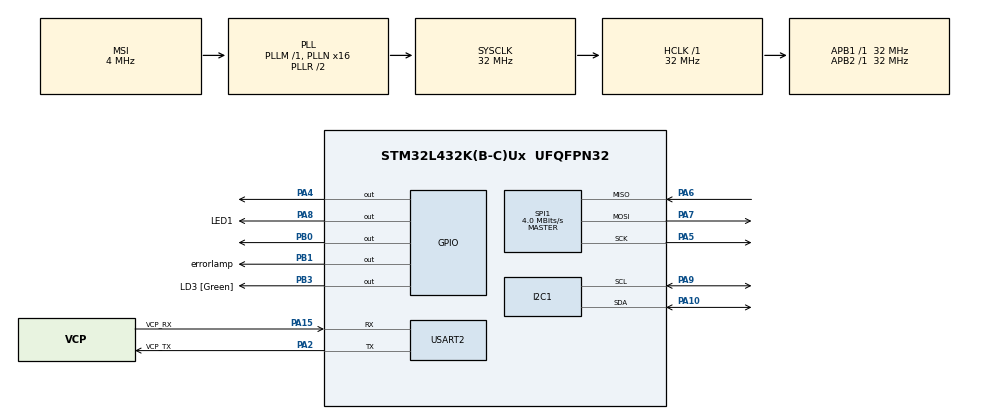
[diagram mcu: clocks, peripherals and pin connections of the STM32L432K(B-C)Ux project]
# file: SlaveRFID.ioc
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Dma.I2C1_RX.0.Direction=DMA_PERIPH_TO_MEMORY
Dma.I2C1_RX.0.Instance=DMA1_Channel7
Dma.I2C1_RX.0.MemDataAlignment=DMA_MDATAALIGN_BYTE
Dma.I2C1_RX.0.MemInc=DMA_MINC_ENABLE
Dma.I2C1_RX.0.Mode=DMA_NORMAL
Dma.I2C1_RX.0.PeriphDataAlignment=DMA_PDATAALIGN_BYTE
Dma.I2C1_RX.0.PeriphInc=DMA_PINC_DISABLE
Dma.I2C1_RX.0.Priority=DMA_PRIORITY_LOW
Dma.Request0=I2C1_RX
I2C1.OwnAddress=15
I2C1.Timing=0x00B07CB4
Mcu.Family=STM32L4
Mcu.Name=STM32L432K(B-C)Ux
Mcu.Package=UFQFPN32
NVIC.DMA1_Channel7_IRQn=true\:0\:0\:false\:false\:true\:false\:true\:true
NVIC.I2C1_ER_IRQn=true\:0\:0\:false\:false\:true\:true\:true\:true
NVIC.I2C1_EV_IRQn=true\:0\:0\:false\:false\:true\:true\:true\:true
NVIC.PriorityGroup=NVIC_PRIORITYGROUP_4
NVIC.TIM2_IRQn=true\:0\:0\:false\:false\:true\:true\:true\:true
PA0.GPIO_Label=MCO [High speed clock in]
PA0.Mode=HSE-External-Clock-Source-for-LittleOrca
PA0.Signal=RCC_CK_IN
PA10.Mode=I2C
PA10.Signal=I2C1_SDA
PA13\ (JTMS-SWDIO).GPIO_Label=SWDIO
PA13\ (JTMS-SWDIO).Mode=Serial_Wire
PA13\ (JTMS-SWDIO).Signal=SYS_JTMS-SWDIO
PA14\ (JTCK-SWCLK).GPIO_Label=SWCLK
PA14\ (JTCK-SWCLK).Mode=Serial_Wire
PA14\ (JTCK-SWCLK).Signal=SYS_JTCK-SWCLK
PA15\ (JTDI).GPIO_Label=VCP_RX
PA15\ (JTDI).Mode=Asynchronous
PA15\ (JTDI).Signal=USART2_RX
PA2.GPIO_Label=VCP_TX
PA2.Mode=Asynchronous
PA2.Signal=USART2_TX
PA4.Signal=GPIO_Output
PA5.Mode=Full_Duplex_Master
PA5.Signal=SPI1_SCK
PA6.Mode=Full_Duplex_Master
PA6.Signal=SPI1_MISO
PA7.Mode=Full_Duplex_Master
PA7.Signal=SPI1_MOSI
PA8.GPIO_Label=LED1
PA8.Signal=GPIO_Output
PA9.Mode=I2C
PA9.Signal=I2C1_SCL
PB0.Signal=GPIO_Output
PB1.GPIO_Label=errorlamp
PB1.Signal=GPIO_Output
PB3\ (JTDO-TRACESWO).GPIO_Label=LD3 [Green]
PB3\ (JTDO-TRACESWO).Signal=GPIO_Output
PC14-OSC32_IN\ (PC14).Mode=LSE-External-Oscillator
PC14-OSC32_IN\ (PC14).Signal=RCC_OSC32_IN
PC15-OSC32_OUT\ (PC15).Mode=LSE-External-Oscillator
PC15-OSC32_OUT\ (PC15).Signal=RCC_OSC32_OUT
ProjectManager.HeapSize=0x200
ProjectManager.StackSize=0x400
ProjectManager.TargetToolchain=STM32CubeIDE
RCC.AHBFreq_Value=32000000
RCC.APB1Freq_Value=32000000
RCC.APB1TimFreq_Value=32000000
RCC.APB2Freq_Value=32000000
RCC.APB2TimFreq_Value=32000000
RCC.CortexFreq_Value=32000000
RCC.HCLKFreq_Value=32000000
RCC.HSE_VALUE=8000000
RCC.HSI16_VALUE=16000000
RCC.HSI48_VALUE=48000000
RCC.HSI_VALUE=16000000
RCC.MSI_VALUE=4000000
RCC.PLLMUL=RCC_PLLMUL_4
RCC.PLLN=16
RCC.SYSCLKFreq_VALUE=32000000
RCC.SYSCLKSource=RCC_SYSCLKSOURCE_PLLCLK
RCC.VCOOutputFreq_Value=64000000
SPI1.BaudRatePrescaler=SPI_BAUDRATEPRESCALER_8
SPI1.CalculateBaudRate=4.0 MBits/s
SPI1.DataSize=SPI_DATASIZE_8BIT
SPI1.Direction=SPI_DIRECTION_2LINES
SPI1.Mode=SPI_MODE_MASTER
SPI1.VirtualType=VM_MASTER
TIM2.Period=4999
TIM2.Prescaler=7999
USART2.VirtualMode-Asynchronous=VM_ASYNC
VP_TIM2_VS_ClockSourceINT.Mode=Internal
board=NUCLEO-L432KC

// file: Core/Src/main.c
/* USER CODE BEGIN Header */
/**
  ******************************************************************************
  * @file           : main.c
  * @brief          : Main program body
  ******************************************************************************
  * @attention
  *
  * Copyright (c) 2025 STMicroelectronics.
  * All rights reserved.
  *
  * This software is licensed under terms that can be found in the LICENSE file
  * in the root directory of this software component.
  * If no LICENSE file comes with this software, it is provided AS-IS.
  *
  ******************************************************************************
  */
/* USER CODE END Header */
#include "main.h"

/* USER CODE BEGIN Includes */
#include "MFRC522.h"
#include <string.h>
#include <stdio.h>
#include <stdbool.h>
#include "RFID.h"
/* USER CODE END Includes */

I2C_HandleTypeDef hi2c1;
DMA_HandleTypeDef hdma_i2c1_rx;

SPI_HandleTypeDef hspi1;

TIM_HandleTypeDef htim2;

UART_HandleTypeDef huart2;

/* USER CODE BEGIN PV */
uint32_t pasID = 0;
uint32_t pasIDbuf = 0;
uint8_t RX_Buffer [1] ;
char buffer[20];
/* USER CODE END PV */

void SystemClock_Config(void);
static void MX_GPIO_Init(void);
static void MX_DMA_Init(void);
static void MX_USART2_UART_Init(void);
static void MX_I2C1_Init(void);
static void MX_SPI1_Init(void);
static void MX_TIM2_Init(void);

/* USER CODE BEGIN 0 */
volatile bool ledAan = false;
volatile bool statussend = true;

volatile bool ledAan2 = false;
volatile bool statussend2 = true;
/* USER CODE END 0 */

int main(void)
{

  /* MCU Configuration--------------------------------------------------------*/

  /* Reset of all peripherals, Initializes the Flash interface and the Systick. */
  HAL_Init();

  /* Configure the system clock */
  SystemClock_Config();

  /* Initialize all configured peripherals */
  MX_GPIO_Init();
  MX_DMA_Init();
  MX_USART2_UART_Init();
  MX_I2C1_Init();
  MX_SPI1_Init();
  MX_TIM2_Init();
  /* USER CODE BEGIN 2 */
  MFRC522_Init();
   HAL_I2C_Slave_Receive_IT(&hi2c1, RX_Buffer, 1);  // Zet de slave in ontvangstmodus
  __HAL_TIM_SET_COUNTER(&htim2, 0);  // Reset timer
  HAL_TIM_Base_Start_IT(&htim2);     // Start timer
  HAL_NVIC_SetPriority(TIM2_IRQn, 5, 0); // Stel een lagere prioriteit in voor de timer interrupt
 // HAL_I2C_Slave_Transmit_IT(&hi2c1 ,(uint8_t *)RX_Buffer, 1); //Receiving in Interrupt mode
  /* USER CODE END 2 */

  /* Infinite loop */
  /* USER CODE BEGIN WHILE */
  while (1)
  {
      pasID = scanPas();
     // char debugMsg5[] = "while loop \r\n";
 //     HAL_UART_Transmit(&huart2, (uint8_t*)debugMsg5, strlen(debugMsg5), HAL_MAX_DELAY);

      if (pasID > 0 && statussend == true) {
    	  	 pasIDbuf = pasID;
    	  	 HAL_GPIO_WritePin(GPIOA, GPIO_PIN_4 | LED1_Pin, GPIO_PIN_SET);
    	  	 ledAan = true;
    	  	 statussend = false;
    	  	__HAL_TIM_SET_COUNTER(&htim2, 0);  // Reset timer
    	  	HAL_TIM_Base_Start_IT(&htim2);     // Start timer
    	//  	char debugMsg4[] = "Timer wordt gestart\r\n";
    	//  	HAL_UART_Transmit(&huart2, (uint8_t*)debugMsg4, strlen(debugMsg4), HAL_MAX_DELAY);
      }
    /* USER CODE END WHILE */

  }
}

void SystemClock_Config(void)
{
  RCC_OscInitTypeDef RCC_OscInitStruct = {0};
  RCC_ClkInitTypeDef RCC_ClkInitStruct = {0};

  /** Configure the main internal regulator output voltage
  */
  if (HAL_PWREx_ControlVoltageScaling(PWR_REGULATOR_VOLTAGE_SCALE1) != HAL_OK)
  {
    Error_Handler();
  }

  /** Configure LSE Drive Capability
  */
  HAL_PWR_EnableBkUpAccess();
  __HAL_RCC_LSEDRIVE_CONFIG(RCC_LSEDRIVE_LOW);

  /** Initializes the RCC Oscillators according to the specified parameters
  * in the RCC_OscInitTypeDef structure.
  */
  RCC_OscInitStruct.OscillatorType = RCC_OSCILLATORTYPE_LSE|RCC_OSCILLATORTYPE_MSI;
  RCC_OscInitStruct.LSEState = RCC_LSE_ON;
  RCC_OscInitStruct.MSIState = RCC_MSI_ON;
  RCC_OscInitStruct.MSICalibrationValue = 0;
  RCC_OscInitStruct.MSIClockRange = RCC_MSIRANGE_6;
  RCC_OscInitStruct.PLL.PLLState = RCC_PLL_ON;
  RCC_OscInitStruct.PLL.PLLSource = RCC_PLLSOURCE_MSI;
  RCC_OscInitStruct.PLL.PLLM = 1;
  RCC_OscInitStruct.PLL.PLLN = 16;
  RCC_OscInitStruct.PLL.PLLP = RCC_PLLP_DIV7;
  RCC_OscInitStruct.PLL.PLLQ = RCC_PLLQ_DIV2;
  RCC_OscInitStruct.PLL.PLLR = RCC_PLLR_DIV2;
  if (HAL_RCC_OscConfig(&RCC_OscInitStruct) != HAL_OK)
  {
    Error_Handler();
  }

  /** Initializes the CPU, AHB and APB buses clocks
  */
  RCC_ClkInitStruct.ClockType = RCC_CLOCKTYPE_HCLK|RCC_CLOCKTYPE_SYSCLK
                              |RCC_CLOCKTYPE_PCLK1|RCC_CLOCKTYPE_PCLK2;
  RCC_ClkInitStruct.SYSCLKSource = RCC_SYSCLKSOURCE_PLLCLK;
  RCC_ClkInitStruct.AHBCLKDivider = RCC_SYSCLK_DIV1;
  RCC_ClkInitStruct.APB1CLKDivider = RCC_HCLK_DIV1;
  RCC_ClkInitStruct.APB2CLKDivider = RCC_HCLK_DIV1;

  if (HAL_RCC_ClockConfig(&RCC_ClkInitStruct, FLASH_LATENCY_1) != HAL_OK)
  {
    Error_Handler();
  }

  /** Enable MSI Auto calibration
  */
  HAL_RCCEx_EnableMSIPLLMode();
}

static void MX_I2C1_Init(void)
{

  hi2c1.Instance = I2C1;
  hi2c1.Init.Timing = 0x00B07CB4;
  hi2c1.Init.OwnAddress1 = 30;
  hi2c1.Init.AddressingMode = I2C_ADDRESSINGMODE_7BIT;
  hi2c1.Init.DualAddressMode = I2C_DUALADDRESS_DISABLE;
  hi2c1.Init.OwnAddress2 = 0;
  hi2c1.Init.OwnAddress2Masks = I2C_OA2_NOMASK;
  hi2c1.Init.GeneralCallMode = I2C_GENERALCALL_DISABLE;
  hi2c1.Init.NoStretchMode = I2C_NOSTRETCH_DISABLE;
  if (HAL_I2C_Init(&hi2c1) != HAL_OK)
  {
    Error_Handler();
  }

  /** Configure Analogue filter
  */
  if (HAL_I2CEx_ConfigAnalogFilter(&hi2c1, I2C_ANALOGFILTER_ENABLE) != HAL_OK)
  {
    Error_Handler();
  }

  /** Configure Digital filter
  */
  if (HAL_I2CEx_ConfigDigitalFilter(&hi2c1, 0) != HAL_OK)
  {
    Error_Handler();
  }

}

static void MX_SPI1_Init(void)
{

  /* SPI1 parameter configuration*/
  hspi1.Instance = SPI1;
  hspi1.Init.Mode = SPI_MODE_MASTER;
  hspi1.Init.Direction = SPI_DIRECTION_2LINES;
  hspi1.Init.DataSize = SPI_DATASIZE_8BIT;
  hspi1.Init.CLKPolarity = SPI_POLARITY_LOW;
  hspi1.Init.CLKPhase = SPI_PHASE_1EDGE;
  hspi1.Init.NSS = SPI_NSS_SOFT;
  hspi1.Init.BaudRatePrescaler = SPI_BAUDRATEPRESCALER_8;
  hspi1.Init.FirstBit = SPI_FIRSTBIT_MSB;
  hspi1.Init.TIMode = SPI_TIMODE_DISABLE;
  hspi1.Init.CRCCalculation = SPI_CRCCALCULATION_DISABLE;
  hspi1.Init.CRCPolynomial = 7;
  hspi1.Init.CRCLength = SPI_CRC_LENGTH_DATASIZE;
  hspi1.Init.NSSPMode = SPI_NSS_PULSE_ENABLE;
  if (HAL_SPI_Init(&hspi1) != HAL_OK)
  {
    Error_Handler();
  }

}

static void MX_TIM2_Init(void)
{

  TIM_ClockConfigTypeDef sClockSourceConfig = {0};
  TIM_MasterConfigTypeDef sMasterConfig = {0};

  htim2.Instance = TIM2;
  htim2.Init.Prescaler = 7999;
  htim2.Init.CounterMode = TIM_COUNTERMODE_UP;
  htim2.Init.Period = 4999;
  htim2.Init.ClockDivision = TIM_CLOCKDIVISION_DIV1;
  htim2.Init.AutoReloadPreload = TIM_AUTORELOAD_PRELOAD_DISABLE;
  if (HAL_TIM_Base_Init(&htim2) != HAL_OK)
  {
    Error_Handler();
  }
  sClockSourceConfig.ClockSource = TIM_CLOCKSOURCE_INTERNAL;
  if (HAL_TIM_ConfigClockSource(&htim2, &sClockSourceConfig) != HAL_OK)
  {
    Error_Handler();
  }
  sMasterConfig.MasterOutputTrigger = TIM_TRGO_RESET;
  sMasterConfig.MasterSlaveMode = TIM_MASTERSLAVEMODE_DISABLE;
  if (HAL_TIMEx_MasterConfigSynchronization(&htim2, &sMasterConfig) != HAL_OK)
  {
    Error_Handler();
  }

}

static void MX_USART2_UART_Init(void)
{

  huart2.Instance = USART2;
  huart2.Init.BaudRate = 115200;
  huart2.Init.WordLength = UART_WORDLENGTH_8B;
  huart2.Init.StopBits = UART_STOPBITS_1;
  huart2.Init.Parity = UART_PARITY_NONE;
  huart2.Init.Mode = UART_MODE_TX_RX;
  huart2.Init.HwFlowCtl = UART_HWCONTROL_NONE;
  huart2.Init.OverSampling = UART_OVERSAMPLING_16;
  huart2.Init.OneBitSampling = UART_ONE_BIT_SAMPLE_DISABLE;
  huart2.AdvancedInit.AdvFeatureInit = UART_ADVFEATURE_NO_INIT;
  if (HAL_UART_Init(&huart2) != HAL_OK)
  {
    Error_Handler();
  }

}

static void MX_DMA_Init(void)
{

  /* DMA controller clock enable */
  __HAL_RCC_DMA1_CLK_ENABLE();

  /* DMA interrupt init */
  /* DMA1_Channel7_IRQn interrupt configuration */
  HAL_NVIC_SetPriority(DMA1_Channel7_IRQn, 0, 0);
  HAL_NVIC_EnableIRQ(DMA1_Channel7_IRQn);

}

static void MX_GPIO_Init(void)
{
  GPIO_InitTypeDef GPIO_InitStruct = {0};

  /* GPIO Ports Clock Enable */
  __HAL_RCC_GPIOC_CLK_ENABLE();
  __HAL_RCC_GPIOA_CLK_ENABLE();
  __HAL_RCC_GPIOB_CLK_ENABLE();

  /*Configure GPIO pin Output Level */
  HAL_GPIO_WritePin(GPIOA, GPIO_PIN_4|LED1_Pin, GPIO_PIN_RESET);

  /*Configure GPIO pin Output Level */
  HAL_GPIO_WritePin(GPIOB, GPIO_PIN_0|errorlamp_Pin|LD3_Pin, GPIO_PIN_RESET);

  /*Configure GPIO pins : PA4 LED1_Pin */
  GPIO_InitStruct.Pin = GPIO_PIN_4|LED1_Pin;
  GPIO_InitStruct.Mode = GPIO_MODE_OUTPUT_PP;
  GPIO_InitStruct.Pull = GPIO_NOPULL;
  GPIO_InitStruct.Speed = GPIO_SPEED_FREQ_LOW;
  HAL_GPIO_Init(GPIOA, &GPIO_InitStruct);

  /*Configure GPIO pins : PB0 errorlamp_Pin LD3_Pin */
  GPIO_InitStruct.Pin = GPIO_PIN_0|errorlamp_Pin|LD3_Pin;
  GPIO_InitStruct.Mode = GPIO_MODE_OUTPUT_PP;
  GPIO_InitStruct.Pull = GPIO_NOPULL;
  GPIO_InitStruct.Speed = GPIO_SPEED_FREQ_LOW;
  HAL_GPIO_Init(GPIOB, &GPIO_InitStruct);

}

/* USER CODE BEGIN 4 */

void HAL_I2C_SlaveRxCpltCallback(I2C_HandleTypeDef *hi2c)
{
    if (hi2c->Instance == I2C1)  // check of het de juiste I2C is
    {
    	if(RX_Buffer [0]== 1){
       uint8_t data[4];
       data[0] = (uint8_t)(pasIDbuf & 0xFF);
       data[1] = (uint8_t)((pasIDbuf >> 8) & 0xFF);
       data[2] = (uint8_t)((pasIDbuf >> 16) & 0xFF);
       data[3] = (uint8_t)((pasIDbuf >> 24) & 0xFF);

       // Stuur de 4 bytes via I2C
       HAL_I2C_Slave_Transmit(&hi2c1, data, 4, 1000);
//       char debugMsg3[] = "Opvraag voor interupt 1\r\n";
//       HAL_UART_Transmit(&huart2, (uint8_t*)debugMsg3, strlen(debugMsg3), HAL_MAX_DELAY);

    //   HAL_I2C_Slave_Transmit(&hi2c1, buffer, 3, 1000);
       HAL_UART_Transmit(&huart2, data, 4, 1000);
       pasIDbuf = 0;

        // Start opnieuw met ontvangen voor de volgende byte
    	}
    	if(RX_Buffer [0]== 2){
    		HAL_GPIO_WritePin(GPIOB, GPIO_PIN_0|errorlamp_Pin|LD3_Pin, GPIO_PIN_SET);
    		ledAan2 = true;
//    		pasIDbuf = 0;
//    		char debugMsg2[] = "Opvraag voor interupt 2\r\n";
//    		HAL_UART_Transmit(&huart2, (uint8_t*)debugMsg2, strlen(debugMsg2), HAL_MAX_DELAY);
    	}
       HAL_I2C_Slave_Receive_IT(&hi2c1, RX_Buffer, 1);
    }
}

void HAL_I2C_SlaveTxCpltCallback(I2C_HandleTypeDef *hi2c)
{
    if (hi2c->Instance == I2C1) {
        HAL_I2C_Slave_Receive_IT(&hi2c1, RX_Buffer, 1);
    }
}

void HAL_TIM_PeriodElapsedCallback(TIM_HandleTypeDef *htim)
{
    if (htim->Instance == TIM2)
    {
        if (ledAan)
        {
            if (ledAan2) {
            	HAL_GPIO_WritePin(GPIOB, errorlamp_Pin, GPIO_PIN_RESET);
            	char debugMsg[] = "Led2 is aangeroepen\r\n";
            	HAL_UART_Transmit(&huart2, (uint8_t*)debugMsg, strlen(debugMsg), 1000);
           }
            HAL_GPIO_WritePin(GPIOA, GPIO_PIN_4 | LED1_Pin, GPIO_PIN_RESET);
            ledAan = false;
        	ledAan2 = false;
        	statussend = true;
            HAL_TIM_Base_Stop_IT(&htim2);  // Stop de timer na 1x
        }
//        else if (ledAan2) // Ook hier de error LED resetten na timeout
//                {
//                    HAL_GPIO_WritePin(GPIOB, GPIO_PIN_0|errorlamp_Pin|LD3_Pin, GPIO_PIN_RESET);
//                    ledAan2 = false;
//                    HAL_TIM_Base_Stop_IT(&htim2);
//                }

    }
}
/* USER CODE END 4 */

void Error_Handler(void)
{
  __disable_irq();
  while (1)
  {
  }
}
